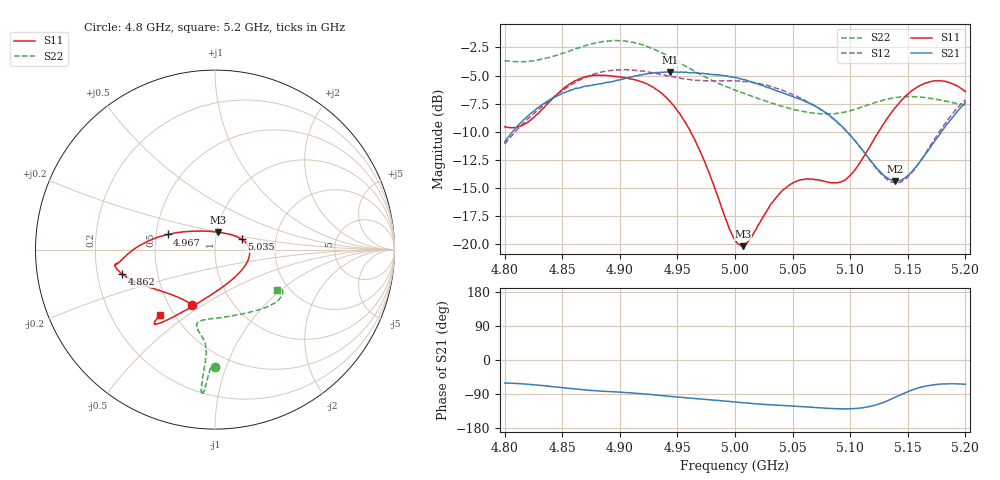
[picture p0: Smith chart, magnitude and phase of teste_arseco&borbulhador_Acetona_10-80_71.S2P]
! Network Analyzer HP8722D
! Hewlett-Packard
! Data name: Linha & Wilkinson
! Saver's name: Rodrigo Anjos
! Comments: Teste da utilização de aquisição
! continua pelo VNA HP8722D
! Time and date: 17/4/2025 14:57
!  Frequency  S11  S21  S12  S22
# HZ  S  MA R 50
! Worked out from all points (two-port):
!   401 points, 4.8 GHz to 5.2 GHz, reference 50 ohm
!   highest |S21| = -4.68 dB at 4.944 GHz (marker M1); lowest = -14.4 dB at 5.139 GHz (marker M2)
!   |S21| within 3 dB of the highest: 4.831 GHz to 5.069 GHz (237.1 MHz wide, 4.79 % of centre); 5.197643 GHz to end of sweep
!   lowest |S11| = -20.2 dB at 5.007 GHz (marker M3), VSWR 1.22, Z = 50.8 + j9.87 ohm
!   |S11| at or under -10 dB: 4.961 GHz to 5.125 GHz (163.2 MHz wide, 3.24 % of centre)
!   |S22| runs from -8.4 to -1.9 dB; largest |S21 - S12| = 0.88
!   S11 on the Smith chart (normalised r, x): 4.8 GHz: 0.65, -0.45; 4.862 GHz: 0.31, -0.12; 4.967 GHz: 0.57, +0.10; 5.035 GHz: 1.34, +0.16; 5.2 GHz: 0.42, -0.40
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4.8e9  0.333 -112.9  0.2847 -60.6  0.2789 -174.9  0.6554 -89.8
4.819e9  0.3459 -132.8  0.3663 -63.7  0.3551 -173.2  0.6503 -91.4
4.862e9  0.5345 -165.3  0.4941 -76.6  0.5258 -176.4  0.7409 -93.6
4.867e9  0.5476 -167.2  0.5009 -78.2  0.5428 -177.4  0.754 -93.8
4.899e9  0.5553 -171.8  0.5367 -85.0  0.596 176.0  0.8032 -95.1
4.934e9  0.4791 -177.8  0.58 -93.3  0.5715 172.1  0.7197 -95.5
4.944e9  0.4291 177.7  0.5837 -96.0  0.5566 172.1  0.6774 -95.3
4.967e9  0.2774 162.3  0.5768 -102.0  0.5348 174.0  0.5789 -94.8
5e9  0.1042 103.8  0.5505 -110.8  0.5332 176.4  0.4832 -99.0
5.007e9  0.09776 79.8  0.5401 -112.5  0.5279 176.4  0.4703 -100.7
5.013e9  0.1044 60.9  0.5302 -114.2  0.5249 176.1  0.4573 -101.9
5.035e9  0.159 21.4  0.484 -119.0  0.4954 175.0  0.4191 -103.4
5.05e9  0.1864 5.9  0.4539 -121.6  0.4622 174.3  0.3997 -99.7
5.067e9  0.1942 -12.2  0.4173 -124.7  0.4195 173.9  0.3832 -91.1
5.086e9  0.1869 -42.1  0.3604 -128.3  0.3579 173.7  0.3798 -76.9
5.097e9  0.1952 -65.0  0.317 -129.0  0.3161 174.6  0.3886 -67.6
5.134e9  0.3735 -115.7  0.1941 -105.7  0.1906 -158.4  0.4436 -42.9
5.139e9  0.4046 -118.8  0.1905 -98.7  0.1874 -150.6  0.4481 -40.8
5.152e9  0.4742 -124.2  0.206 -81.1  0.2035 -130.3  0.453 -36.0
5.17e9  0.5288 -128.3  0.2707 -66.5  0.2767 -112.7  0.4448 -31.8
5.184e9  0.5272 -129.7  0.3414 -62.9  0.3528 -107.0  0.4315 -30.8
5.2e9  0.477 -130.1  0.4259 -64.1  0.438 -106.1  0.4147 -33.1
